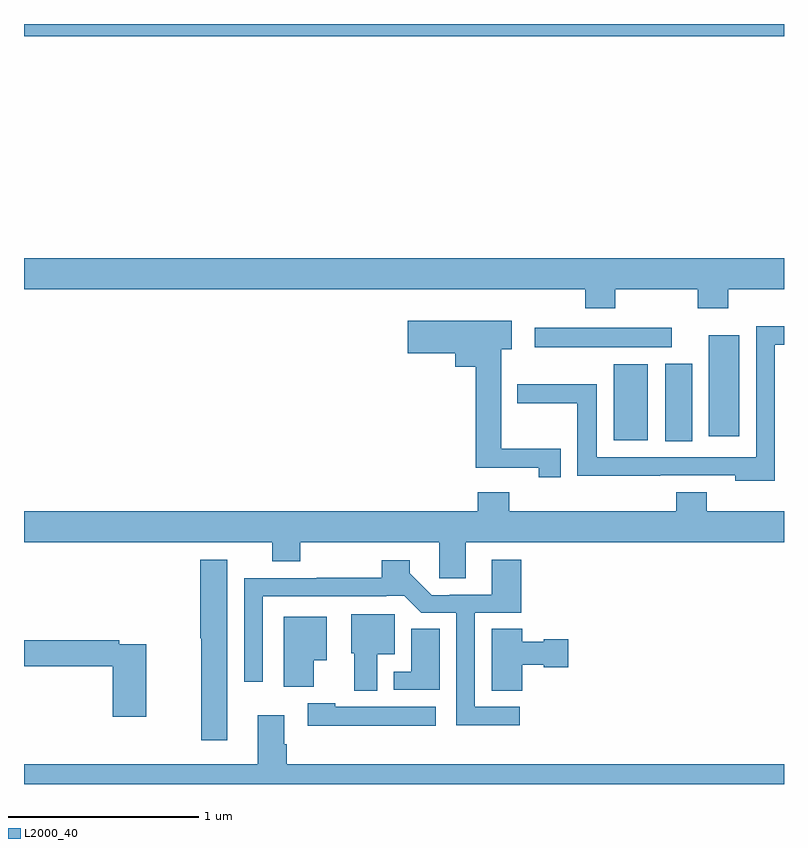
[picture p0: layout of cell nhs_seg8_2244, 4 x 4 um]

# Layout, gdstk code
import gdstk
lib = gdstk.Library(unit=1e-6, precision=1e-09)
def R(c, l, rs):  # rectangles x0, y0, x1, y1
    for r in rs: c.add(gdstk.rectangle(r[:2], r[2:], *l))
def P(c, l, *ps):  # polygons
    for p in ps: c.add(gdstk.Polygon(p, *l))
L2000_40 = (2000, 40)

nhs_seg8_2244 = lib.new_cell('nhs_seg8_2244')
R(nhs_seg8_2244, L2000_40, [(256.376,1111.705,256.516,1112.113), (256.103,1111.709,256.282,1112.11), (256.604,1111.731,256.765,1112.263), (255.687,1112.198,256.408,1112.302), (253,1113.836,257,1113.9)])
P(nhs_seg8_2244, L2000_40, [(256.113,1112.504),(256.546,1112.504),(256.546,1112.405),(256.706,1112.405),(256.706,1112.504),(257,1112.504),(257,1112.668),(253,1112.668),(253,1112.504),(255.953,1112.504),(255.953,1112.405),(256.113,1112.405)],
  [(255.826,1111.665),(255.511,1111.665),(255.511,1112.189),(255.568,1112.189),(255.568,1112.338),(255.021,1112.338),(255.021,1112.168),(255.269,1112.168),(255.269,1112.096),(255.377,1112.096),(255.377,1111.565),(255.709,1111.565),(255.709,1111.515),(255.826,1111.515)],
  [(256.95,1112.211),(257,1112.211),(257,1112.309),(256.854,1112.309),(256.854,1111.62),(256.015,1111.62),(256.015,1112.003),(255.596,1112.003),(255.596,1111.903),(255.911,1111.903),(255.911,1111.523),(256.349,1111.523),(256.349,1111.524),(256.743,1111.524),(256.743,1111.496),(256.95,1111.496)],
  [(255.325,1111.172),(257,1111.172),(257,1111.336),(256.593,1111.336),(256.593,1111.435),(256.433,1111.435),(256.433,1111.336),(255.554,1111.336),(255.554,1111.435),(255.389,1111.435),(255.389,1111.336),(253,1111.336),(253,1111.172),(254.306,1111.172),(254.306,1111.073),(254.454,1111.073),(254.454,1111.172),(255.186,1111.172),(255.186,1110.982),(255.325,1110.982)],
  [(254.071,1111.081),(253.928,1111.081),(253.928,1110.668),(253.933,1110.668),(253.933,1110.129),(254.071,1110.129)],
  [(255.61,1110.306),(255.372,1110.306),(255.372,1110.801),(255.617,1110.801),(255.617,1111.081),(255.461,1111.081),(255.461,1110.897),(255.241,1110.897),(255.241,1110.894),(255.147,1110.894),(255.031,1111.01),(255.031,1111.078),(254.884,1111.078),(254.884,1110.986),(254.542,1110.986),(254.542,1110.984),(254.16,1110.984),(254.16,1110.438),(254.256,1110.438),(254.256,1110.888),(254.906,1110.888),(254.906,1110.891),(255.002,1110.891),(255.092,1110.801),(255.276,1110.801),(255.276,1110.209),(255.61,1110.209)],
  [(254.86,1110.584),(254.95,1110.584),(254.95,1110.793),(254.723,1110.793),(254.723,1110.588),(254.738,1110.588),(254.738,1110.392),(254.86,1110.392)],
  [(254.524,1110.551),(254.593,1110.551),(254.593,1110.781),(254.366,1110.781),(254.366,1110.411),(254.524,1110.411)],
  [(255.622,1110.527),(255.735,1110.527),(255.735,1110.515),(255.865,1110.515),(255.865,1110.662),(255.735,1110.662),(255.735,1110.649),(255.622,1110.649),(255.622,1110.716),(255.461,1110.716),(255.461,1110.391),(255.622,1110.391)],
  [(255.187,1110.716),(255.038,1110.716),(255.038,1110.492),(254.945,1110.492),(254.945,1110.396),(255.187,1110.396)],
  [(253.644,1110.636),(253.502,1110.636),(253.502,1110.656),(253,1110.656),(253,1110.52),(253.466,1110.52),(253.466,1110.255),(253.644,1110.255)],
  [(255.166,1110.307),(254.637,1110.307),(254.637,1110.325),(254.493,1110.325),(254.493,1110.206),(255.166,1110.206)],
  [(257,1110.004),(254.384,1110.004),(254.384,1110.11),(254.371,1110.11),(254.371,1110.262),(254.231,1110.262),(254.231,1110.004),(253,1110.004),(253,1109.9),(257,1109.9)])

lib.write_gds('nhs_seg8_2244.gds')
